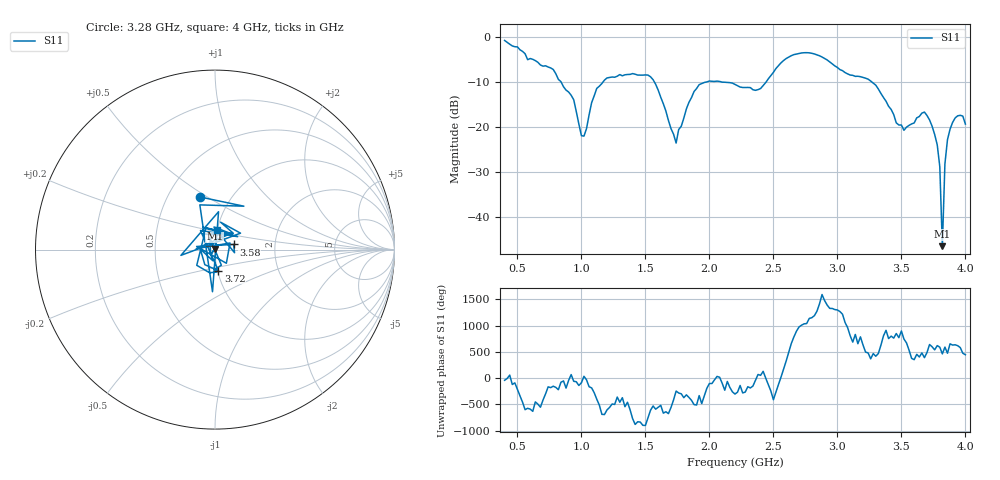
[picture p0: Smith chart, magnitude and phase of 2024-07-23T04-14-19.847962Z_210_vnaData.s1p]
!Created with skrf (http://scikit-rf.org).
# Hz S RI R 50.0
!freq ReS11 ImS11
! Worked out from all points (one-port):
!   181 points, 400 MHz to 4 GHz, reference 50 ohm
!   lowest |S11| = -46.6 dB at 3.82 GHz (marker M1), VSWR 1.01, Z = 49.9 + j0.459 ohm
!   |S11| at or under -10 dB: 1.57 GHz to 1.981 GHz (411.1 MHz wide, 23.2 % of centre); 2.092 GHz to 2.444 GHz (351.4 MHz wide, 15.5 % of centre); 3.268 GHz to end of sweep (the widest 3 of 4)
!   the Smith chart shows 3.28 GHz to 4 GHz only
!   S11 on the Smith chart (normalised r, x): 3.28 GHz: 0.72, +0.46; 3.58 GHz: 1.23, +0.07; 3.72 GHz: 1.01, -0.24; 4 GHz: 1.00, +0.21
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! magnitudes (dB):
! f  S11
! 400 MHz  -0.8
! 780 MHz  -7.2
! 860 MHz  -11.1
! 940 MHz  -14.0
! 1.02 GHz  -22.1
! 1.12 GHz  -11.4
! 1.3 GHz  -8.4
! 1.54 GHz  -8.9
! 1.74 GHz  -23.6
! 1.76 GHz  -20.6
! 1.92 GHz  -10.6
! 2.2 GHz  -10.6
! 2.4 GHz  -11.5
! 2.66 GHz  -3.9
! 3.1 GHz  -8.5
! 3.28 GHz  -10.3
! 3.46 GHz  -19.1
! 3.56 GHz  -19.7
! 3.58 GHz  -19.4
! 3.68 GHz  -16.7
! 3.72 GHz  -18.5
! 3.78 GHz  -24.0
! 3.8 GHz  -28.9
! 3.82 GHz  -46.6
! 3.84 GHz  -28.3
! 3.86 GHz  -22.9
! 3.92 GHz  -18.0
! 4 GHz  -19.4
